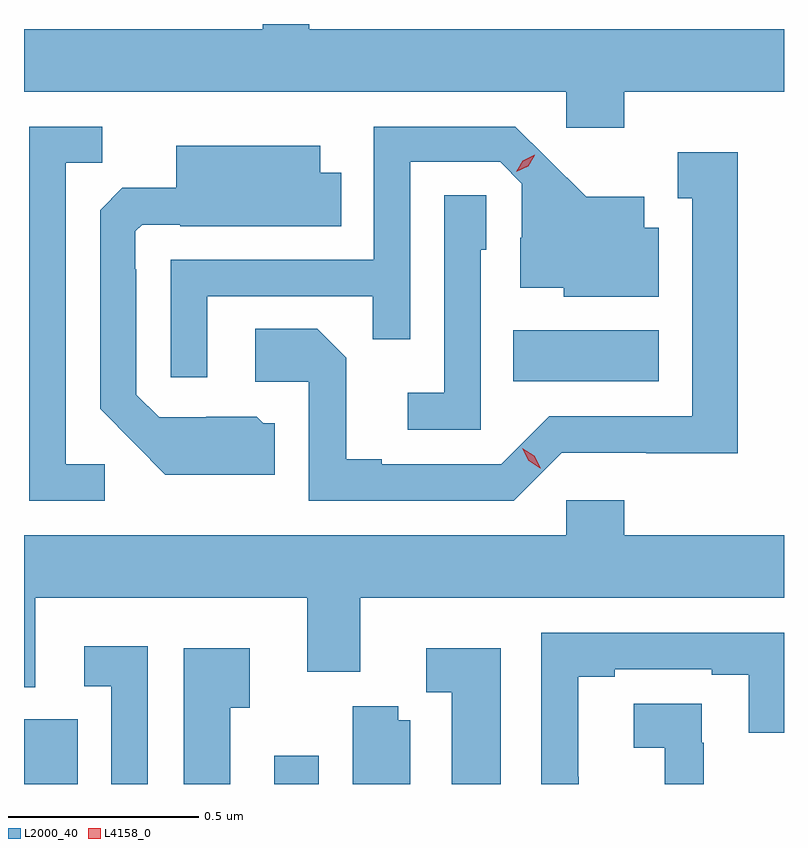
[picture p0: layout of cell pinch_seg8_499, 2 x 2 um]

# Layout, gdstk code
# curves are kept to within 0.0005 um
import gdstk
lib = gdstk.Library(unit=1e-6, precision=1e-09)
def R(c, l, rs):  # rectangles x0, y0, x1, y1
    for r in rs: c.add(gdstk.rectangle(r[:2], r[2:], *l))
def P(c, l, *ps):  # polygons
    for p in ps: c.add(gdstk.Polygon(p, *l))
L2000_40 = (2000, 40)
L4158_0 = (4158, 0)

pinch_seg8_499 = lib.new_cell('pinch_seg8_499')
R(pinch_seg8_499, L2000_40, [(210.229,1130.662,210.37,1130.832), (210.888,1130.662,211.005,1130.737), (211.516,1131.722,211.9,1131.856)])
P(pinch_seg8_499, L2000_40, [(211.808,1132.484),(212.229,1132.484),(212.229,1132.648),(210.979,1132.648),(210.979,1132.662),(210.857,1132.662),(210.857,1132.648),(210.229,1132.648),(210.229,1132.484),(211.656,1132.484),(211.656,1132.389),(211.808,1132.389)],
  [(210.711,1131.945),(211.147,1131.945),(211.147,1131.832),(211.245,1131.832),(211.245,1132.299),(211.482,1132.299),(211.539,1132.242),(211.539,1132.1),(211.535,1132.1),(211.535,1131.968),(211.65,1131.968),(211.65,1131.944),(211.9,1131.944),(211.9,1132.126),(211.861,1132.126),(211.861,1132.207),(211.709,1132.207),(211.522,1132.392),(211.149,1132.392),(211.149,1132.041),(210.615,1132.041),(210.615,1131.732),(210.711,1131.732)],
  [(210.442,1131.504),(210.339,1131.504),(210.339,1132.297),(210.435,1132.297),(210.435,1132.392),(210.243,1132.392),(210.243,1131.408),(210.442,1131.408)],
  [(210.889,1131.612),(210.858,1131.612),(210.842,1131.628),(210.708,1131.628),(210.708,1131.627),(210.585,1131.627),(210.525,1131.687),(210.525,1132.016),(210.522,1132.016),(210.522,1132.116),(210.54,1132.134),(210.64,1132.134),(210.64,1132.13),(211.064,1132.13),(211.064,1132.27),(211.009,1132.27),(211.009,1132.342),(210.629,1132.342),(210.629,1132.231),(210.488,1132.231),(210.429,1132.172),(210.429,1131.65),(210.601,1131.476),(210.889,1131.476)],
  [(211.644,1131.534),(211.866,1131.534),(211.866,1131.533),(212.107,1131.533),(212.107,1132.324),(211.949,1132.324),(211.949,1132.203),(211.988,1132.203),(211.988,1131.63),(211.611,1131.63),(211.485,1131.504),(211.171,1131.504),(211.171,1131.517),(211.077,1131.517),(211.077,1131.784),(211.001,1131.86),(210.837,1131.86),(210.837,1131.72),(210.978,1131.72),(210.978,1131.408),(211.518,1131.408)],
  [(211.431,1132.068),(211.446,1132.068),(211.446,1132.211),(211.335,1132.211),(211.335,1131.691),(211.239,1131.691),(211.239,1131.594),(211.431,1131.594)],
  [(210.259,1131.152),(210.974,1131.152),(210.974,1130.958),(211.114,1130.958),(211.114,1131.152),(212.229,1131.152),(212.229,1131.316),(211.808,1131.316),(211.808,1131.409),(211.656,1131.409),(211.656,1131.316),(210.229,1131.316),(210.229,1130.917),(210.259,1130.917)],
  [(211.689,1130.681),(211.687,1130.681),(211.687,1130.944),(211.783,1130.944),(211.783,1130.964),(212.039,1130.964),(212.039,1130.95),(212.136,1130.95),(212.136,1130.797),(212.229,1130.797),(212.229,1131.06),(211.59,1131.06),(211.59,1130.662),(211.689,1130.662)],
  [(210.555,1131.025),(210.387,1131.025),(210.387,1130.919),(210.459,1130.919),(210.459,1130.662),(210.555,1130.662)],
  [(210.772,1130.863),(210.823,1130.863),(210.823,1131.019),(210.65,1131.019),(210.65,1130.662),(210.772,1130.662)],
  [(211.483,1131.019),(211.287,1131.019),(211.287,1130.904),(211.355,1130.904),(211.355,1130.662),(211.483,1130.662)],
  [(212.018,1130.771),(212.012,1130.771),(212.012,1130.873),(211.833,1130.873),(211.833,1130.758),(211.915,1130.758),(211.915,1130.662),(212.018,1130.662)],
  [(211.246,1130.83),(211.214,1130.83),(211.214,1130.867),(211.094,1130.867),(211.094,1130.662),(211.246,1130.662)])
P(pinch_seg8_499, L4158_0, [(211.588,1131.493),(211.557,1131.513),(211.54,1131.546),(211.54,1131.546),(211.54,1131.546),(211.572,1131.526),(211.589,1131.493),(211.589,1131.493)],
  [(211.524,1132.273),(211.524,1132.273),(211.542,1132.302),(211.573,1132.318),(211.573,1132.318),(211.573,1132.317),(211.556,1132.288),(211.525,1132.273)])

lib.write_gds('pinch_seg8_499.gds')
